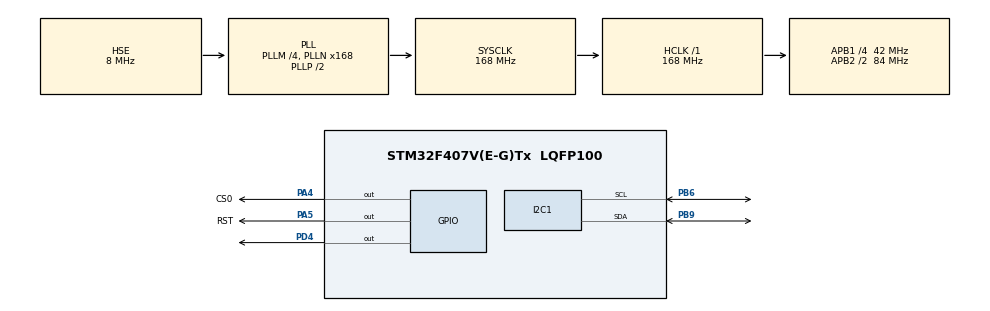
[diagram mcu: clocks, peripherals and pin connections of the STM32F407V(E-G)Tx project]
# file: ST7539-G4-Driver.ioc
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I2C1.I2C_Mode=I2C_Standard
Mcu.Family=STM32F4
Mcu.Name=STM32F407V(E-G)Tx
Mcu.Package=LQFP100
NVIC.PriorityGroup=NVIC_PRIORITYGROUP_4
PA13.Mode=Serial_Wire
PA13.Signal=SYS_JTMS-SWDIO
PA14.Mode=Serial_Wire
PA14.Signal=SYS_JTCK-SWCLK
PA4.GPIO_Label=CS0
PA4.GPIO_PuPd=GPIO_PULLUP
PA4.Signal=GPIO_Output
PA5.GPIO_Label=RST
PA5.GPIO_PuPd=GPIO_PULLUP
PA5.Signal=GPIO_Output
PB6.GPIO_Pu=GPIO_NOPULL
PB6.GPIO_Speed=GPIO_SPEED_FREQ_LOW
PB6.Mode=I2C
PB6.Signal=I2C1_SCL
PB9.GPIO_Pu=GPIO_NOPULL
PB9.GPIO_Speed=GPIO_SPEED_FREQ_LOW
PB9.Mode=I2C
PB9.Signal=I2C1_SDA
PD4.Signal=GPIO_Output
PH0-OSC_IN.Mode=HSE-External-Oscillator
PH0-OSC_IN.Signal=RCC_OSC_IN
PH1-OSC_OUT.Mode=HSE-External-Oscillator
PH1-OSC_OUT.Signal=RCC_OSC_OUT
ProjectManager.HeapSize=0x200
ProjectManager.StackSize=0x400
ProjectManager.TargetToolchain=STM32CubeIDE
RCC.48MHZClocksFreq_Value=84000000
RCC.AHBFreq_Value=168000000
RCC.APB1CLKDivider=RCC_HCLK_DIV4
RCC.APB1Freq_Value=42000000
RCC.APB1TimFreq_Value=84000000
RCC.APB2CLKDivider=RCC_HCLK_DIV2
RCC.APB2Freq_Value=84000000
RCC.APB2TimFreq_Value=168000000
RCC.CortexFreq_Value=168000000
RCC.HCLKFreq_Value=168000000
RCC.HSE_VALUE=8000000
RCC.HSI_VALUE=16000000
RCC.LSE_VALUE=32768
RCC.PLLM=4
RCC.PLLN=168
RCC.PLLSourceVirtual=RCC_PLLSOURCE_HSE
RCC.SYSCLKFreq_VALUE=168000000
RCC.SYSCLKSource=RCC_SYSCLKSOURCE_PLLCLK
RCC.VCOOutputFreq_Value=336000000
board=custom

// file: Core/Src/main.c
/* USER CODE BEGIN Header */
/**
  ******************************************************************************
  * @file           : main.c
  * @brief          : Main program body
  ******************************************************************************
  * @attention
  *
  * Copyright (c) 2026 STMicroelectronics.
  * All rights reserved.
  *
  * This software is licensed under terms that can be found in the LICENSE file
  * in the root directory of this software component.
  * If no LICENSE file comes with this software, it is provided AS-IS.
  *
  ******************************************************************************
  */
/* USER CODE END Header */
#include "main.h"

/* USER CODE BEGIN Includes */
#include <stdio.h>
#include <string.h>
#include "ST7539.h"
/* USER CODE END Includes */

/* USER CODE BEGIN PTD */
int _write(int32_t file, uint8_t *ptr, int32_t len) //
{
    for (int i = 0; i < len; i++)
    {
        ITM_SendChar(*ptr++);
    }
    return len;
}
/* USER CODE END PTD */

I2C_HandleTypeDef hi2c1;

void SystemClock_Config(void);
static void MX_GPIO_Init(void);
static void MX_I2C1_Init(void);

/* USER CODE BEGIN 0 */
ST7539ScanResult8 result;

static void print_scan(const ST7539ScanResult8 *r) {
  if (!r->found) {
    printf("ST7539 not found\r\n");
    return;
  }
  printf("FOUND: CMD8W=0x%02X DATA8W=0x%02X SA1=%d SA0=%d\r\n",
         r->cmd8w, r->data8w, r->sa0, r->sa0);
}
void I2C_Scan(void);
/* USER CODE END 0 */

int main(void)
{

  /* MCU Configuration--------------------------------------------------------*/

  /* Reset of all peripherals, Initializes the Flash interface and the Systick. */
  HAL_Init();

  /* Configure the system clock */
  SystemClock_Config();

  /* Initialize all configured peripherals */
  MX_GPIO_Init();
  MX_I2C1_Init();
  /* USER CODE BEGIN 2 */
//  ST7539_HWReset();
//  I2C_Scan(&hi2c2);
//  I2C_Scan();
  HAL_GPIO_WritePin(GPIOD, GPIO_PIN_4, 1);
  HAL_Delay(100);
	printf("Scanning I2C bus:\r\n");
	HAL_StatusTypeDef result;
	uint8_t i;
	for (i=1; i<128; i++)
	{

	  result = HAL_I2C_IsDeviceReady(&hi2c1, (uint16_t)(i<<1), 2, 20);
	  if (result != HAL_OK)
	  {
		  printf("."); // No ACK received at that address
	  }
	  if (result == HAL_OK)
	  {
		  printf("0x%X", i); // Received an ACK at that address
	  }
	}
	printf("\r\n");
  /* USER CODE END 2 */
	ST7539_Clear(&hi2c1);
	ST7539_InitBasic(&hi2c1);
	ST7539_Clear(&hi2c1);
	uint32_t last = HAL_GetTick();
	uint32_t elapsed_sec = 0;
  /* Infinite loop */
  /* USER CODE BEGIN WHILE */
//	  while (1)
//	  {
//		// Clear display first if you want (recommended)
//		// ST7539_Clear(&hi2c1);
//		ST7539_DrawText16x16(&hi2c1, 1, 0, "1 2 : 1 6 : 2 4"); // uses pages 2-3
//
//		HAL_Delay(2000);
//	  }

	while (1)
	{
	  uint32_t now = HAL_GetTick();
	  if ((now - last) >= 1000) {
	    last += 1000;
	    elapsed_sec++;

	    uint8_t hh = (elapsed_sec / 3600) % 24;
	    uint8_t mm = (elapsed_sec / 60) % 60;
	    uint8_t ss = (elapsed_sec) % 60;

	    // page=1 means it uses pages 1 and 2 (since 16px tall uses page and page+1)
	    Clock_Draw(&hi2c1, 1, 0, hh, mm, ss);

//	    ST7539_EraseClockDigit(&hi2c1, 1, 0, 0);
//	    ST7539_EraseClockDigit(&hi2c1, 1, 0, 1);
	    ST7539_EraseClockColon(&hi2c1, 1, 0, 1);
//		  ST7539_DrawLine5x7(&hi2c1, 0, 0, "Nhiet do: 234");
//		  ST7539_DrawLine5x7(&hi2c1, 1, 0, "Do am:  12");
//		  ST7539_DrawLine5x7(&hi2c1, 2, 0, "Khi gas:  23");
//		  ST7539_DrawLine5x7(&hi2c1, 3, 0, "Cai gi do khac:  11");

	  }
	}

  /* USER CODE END 3 */
}

void SystemClock_Config(void)
{
  RCC_OscInitTypeDef RCC_OscInitStruct = {0};
  RCC_ClkInitTypeDef RCC_ClkInitStruct = {0};

  /** Configure the main internal regulator output voltage
  */
  __HAL_RCC_PWR_CLK_ENABLE();
  __HAL_PWR_VOLTAGESCALING_CONFIG(PWR_REGULATOR_VOLTAGE_SCALE1);

  /** Initializes the RCC Oscillators according to the specified parameters
  * in the RCC_OscInitTypeDef structure.
  */
  RCC_OscInitStruct.OscillatorType = RCC_OSCILLATORTYPE_HSE;
  RCC_OscInitStruct.HSEState = RCC_HSE_ON;
  RCC_OscInitStruct.PLL.PLLState = RCC_PLL_ON;
  RCC_OscInitStruct.PLL.PLLSource = RCC_PLLSOURCE_HSE;
  RCC_OscInitStruct.PLL.PLLM = 4;
  RCC_OscInitStruct.PLL.PLLN = 168;
  RCC_OscInitStruct.PLL.PLLP = RCC_PLLP_DIV2;
  RCC_OscInitStruct.PLL.PLLQ = 4;
  if (HAL_RCC_OscConfig(&RCC_OscInitStruct) != HAL_OK)
  {
    Error_Handler();
  }

  /** Initializes the CPU, AHB and APB buses clocks
  */
  RCC_ClkInitStruct.ClockType = RCC_CLOCKTYPE_HCLK|RCC_CLOCKTYPE_SYSCLK
                              |RCC_CLOCKTYPE_PCLK1|RCC_CLOCKTYPE_PCLK2;
  RCC_ClkInitStruct.SYSCLKSource = RCC_SYSCLKSOURCE_PLLCLK;
  RCC_ClkInitStruct.AHBCLKDivider = RCC_SYSCLK_DIV1;
  RCC_ClkInitStruct.APB1CLKDivider = RCC_HCLK_DIV4;
  RCC_ClkInitStruct.APB2CLKDivider = RCC_HCLK_DIV2;

  if (HAL_RCC_ClockConfig(&RCC_ClkInitStruct, FLASH_LATENCY_5) != HAL_OK)
  {
    Error_Handler();
  }
}

static void MX_I2C1_Init(void)
{

  hi2c1.Instance = I2C1;
  hi2c1.Init.ClockSpeed = 100000;
  hi2c1.Init.DutyCycle = I2C_DUTYCYCLE_2;
  hi2c1.Init.OwnAddress1 = 0;
  hi2c1.Init.AddressingMode = I2C_ADDRESSINGMODE_7BIT;
  hi2c1.Init.DualAddressMode = I2C_DUALADDRESS_DISABLE;
  hi2c1.Init.OwnAddress2 = 0;
  hi2c1.Init.GeneralCallMode = I2C_GENERALCALL_DISABLE;
  hi2c1.Init.NoStretchMode = I2C_NOSTRETCH_DISABLE;
  if (HAL_I2C_Init(&hi2c1) != HAL_OK)
  {
    Error_Handler();
  }

}

static void MX_GPIO_Init(void)
{
  GPIO_InitTypeDef GPIO_InitStruct = {0};

  /* GPIO Ports Clock Enable */
  __HAL_RCC_GPIOH_CLK_ENABLE();
  __HAL_RCC_GPIOA_CLK_ENABLE();
  __HAL_RCC_GPIOD_CLK_ENABLE();
  __HAL_RCC_GPIOB_CLK_ENABLE();

  /*Configure GPIO pin Output Level */
  HAL_GPIO_WritePin(GPIOA, CS0_Pin|RST_Pin, GPIO_PIN_RESET);

  /*Configure GPIO pin Output Level */
  HAL_GPIO_WritePin(GPIOD, GPIO_PIN_4, GPIO_PIN_RESET);

  /*Configure GPIO pins : CS0_Pin RST_Pin */
  GPIO_InitStruct.Pin = CS0_Pin|RST_Pin;
  GPIO_InitStruct.Mode = GPIO_MODE_OUTPUT_PP;
  GPIO_InitStruct.Pull = GPIO_PULLUP;
  GPIO_InitStruct.Speed = GPIO_SPEED_FREQ_LOW;
  HAL_GPIO_Init(GPIOA, &GPIO_InitStruct);

  /*Configure GPIO pin : PD4 */
  GPIO_InitStruct.Pin = GPIO_PIN_4;
  GPIO_InitStruct.Mode = GPIO_MODE_OUTPUT_PP;
  GPIO_InitStruct.Pull = GPIO_NOPULL;
  GPIO_InitStruct.Speed = GPIO_SPEED_FREQ_LOW;
  HAL_GPIO_Init(GPIOD, &GPIO_InitStruct);

}

/* USER CODE BEGIN 4 */
void I2C_Scan(void)
{
    char buffer[25];
    int buffer_len;
    HAL_StatusTypeDef result;
    uint8_t i;
    buffer_len = sprintf(buffer, "Scanning I2C bus:\r\n");
//    HAL_UART_Transmit(&hlpuart1, (uint8_t*)buffer, buffer_len, 1000);
    printf(buffer);

    for (i = 1; i < 128; i++)
    {
        result = HAL_I2C_IsDeviceReady(&hi2c1, (uint16_t)(i << 1), 2, 2);
        if (result == HAL_OK)
        {
            buffer_len = sprintf(buffer, "0x%02X ", i);
//            HAL_UART_Transmit(&hlpuart1, (uint8_t*)buffer, buffer_len, 1000);
            printf(buffer);
        }
    }
    buffer_len = sprintf(buffer, "\r\n");
//    HAL_UART_Transmit(&hlpuart1, (uint8_t*)buffer, buffer_len, 1000);
    printf(buffer);
}
/* USER CODE END 4 */

void Error_Handler(void)
{
  __disable_irq();
  while (1)
  {
  }
}
